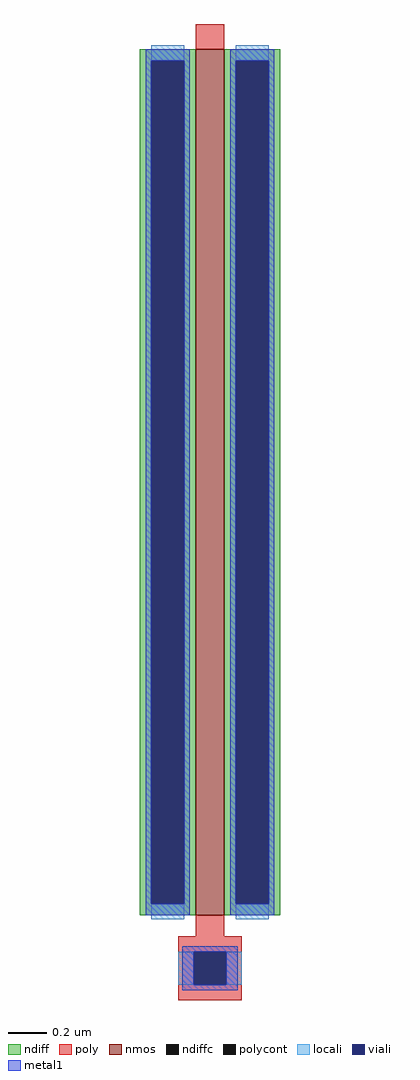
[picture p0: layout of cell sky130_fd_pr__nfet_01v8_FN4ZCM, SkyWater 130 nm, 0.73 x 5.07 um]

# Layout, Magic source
magic
tech sky130A
magscale 1 2
<< nmos >>
rect -15 -419 15 481
<< ndiff >>
rect -73 469 -15 481
rect -73 -407 -61 469
rect -27 -407 -15 469
rect -73 -419 -15 -407
rect 15 469 73 481
rect 15 -407 27 469
rect 61 -407 73 469
rect 15 -419 73 -407
<< ndiffc >>
rect -61 -407 -27 469
rect 27 -407 61 469
<< poly >>
rect -15 481 15 507
rect -15 -441 15 -419
rect -33 -457 33 -441
rect -33 -491 -17 -457
rect 17 -491 33 -457
rect -33 -507 33 -491
<< polycont >>
rect -17 -491 17 -457
<< locali >>
rect -61 469 -27 485
rect -61 -423 -27 -407
rect 27 469 61 485
rect 27 -423 61 -407
rect -33 -491 -17 -457
rect 17 -491 33 -457
<< viali >>
rect -61 -407 -27 469
rect 27 -407 61 469
rect -17 -491 17 -457
<< metal1 >>
rect -67 469 -21 481
rect -67 -407 -61 469
rect -27 -407 -21 469
rect -67 -419 -21 -407
rect 21 469 67 481
rect 21 -407 27 469
rect 61 -407 67 469
rect 21 -419 67 -407
rect -29 -457 29 -451
rect -29 -491 -17 -457
rect 17 -491 29 -457
rect -29 -497 29 -491
<< properties >>
string gencell sky130_fd_pr__nfet_01v8
string library sky130
string parameters w 4.5 l 0.15 m 1 nf 1 diffcov 100 polycov 100 guard 0 glc 1 grc 1 gtc 1 gbc 1 tbcov 100 rlcov 100 topc 0 botc 1 poverlap 0 doverlap 1 lmin 0.15 wmin 0.42 compatible {sky130_fd_pr__nfet_01v8 sky130_fd_pr__nfet_01v8_lvt  sky130_fd_bs_flash__special_sonosfet_star  sky130_fd_pr__nfet_g5v0d10v5 sky130_fd_pr__nfet_05v0_nvt  sky130_fd_pr__nfet_03v3_nvt} full_metal 1 viasrc 100 viadrn 100 viagate 100 viagb 0 viagr 0 viagl 0 viagt 0
<< end >>
